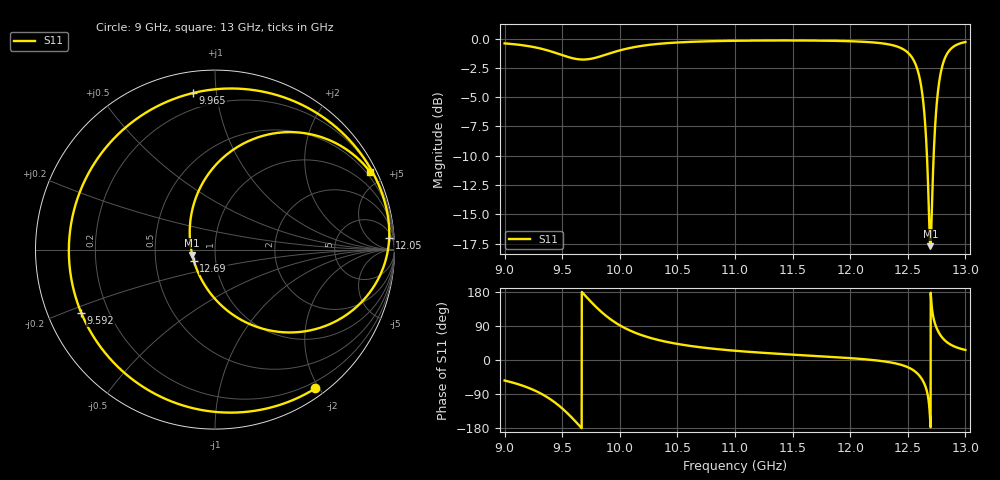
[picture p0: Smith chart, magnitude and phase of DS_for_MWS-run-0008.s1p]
! TOUCHSTONE file generated by CST DESIGN STUDIO
! Date and time: Wed Feb  5 13:32:19 2025
! Project name: C:\Work\MatlabApps\UnitCellOptimizationMatlab\CST\unitcell.cst
! Tree item: Tasks\Sweep1\SPara1\S-Parameters
! Header version: 2024
! Port assignment regex: !\s*Touchstone port\s*([0-9]+)\s*=\s*(CST MWS port|CST DES external port|CST DES block port)\s*(.+)\s* \(\"(.*)\"\)(\s*mode\s*([0-9]+))?.*
! Touchstone port assignment:
! Touchstone port 1 = CST DES external port 1 ("")
# GHz S MA R 50
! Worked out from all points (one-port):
!   4001 points, 9 GHz to 13 GHz, reference 50 ohm
!   lowest |S11| = -17.7 dB at 12.7 GHz (marker M1), VSWR 1.30, Z = 38.7 - j2.3 ohm
!   |S11| at or under -10 dB: 12.66627 GHz to 12.72445 GHz (58.17 MHz wide, 0.458 % of centre)
!   S11 on the Smith chart (normalised r, x): 9 GHz: 0.11, -1.95; 9.592 GHz: 0.10, -0.22; 9.965 GHz: 0.11, +0.86; 12.05 GHz: 10, +25; 12.69 GHz: 0.78, -0.10; 13 GHz: 0.32, +4.22
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9  0.9543 -54.1
9.166  0.9356 -68.8
9.318  0.9056 -89.0
9.415  0.8782 -107.3
9.5  0.8505 -127.7
9.592  0.8244 -154.7
9.666  0.8144 -178.9
9.74  0.8187 156.7
9.85  0.8455 124.3
9.965  0.8809 98.0
10  0.8908 91.5
10.221  0.936 62.4
10.5  0.9628 42.4
11  0.9792 24.4
11.5  0.9821 14.1
12  0.9748 4.9
12.047  0.973 3.9
12.322  0.9475 -4.9
12.5  0.872 -19.0
12.571  0.7693 -32.2
12.628  0.5697 -53.3
12.661  0.3573 -77.1
12.693  0.1336 -151.7
12.696  0.13 -167.0
12.744  0.4757 89.1
12.786  0.7147 64.3
12.872  0.9025 40.5
13  0.967 26.5
